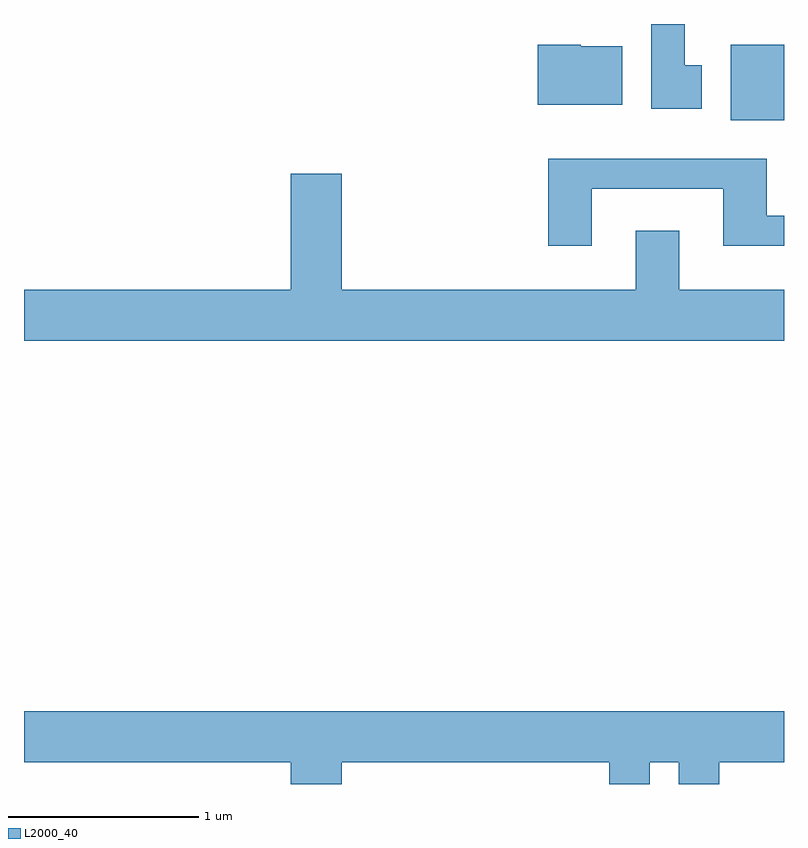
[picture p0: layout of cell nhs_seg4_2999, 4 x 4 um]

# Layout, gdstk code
import gdstk
lib = gdstk.Library(unit=1e-6, precision=1e-09)
def R(c, l, rs):  # rectangles x0, y0, x1, y1
    for r in rs: c.add(gdstk.rectangle(r[:2], r[2:], *l))
def P(c, l, *ps):  # polygons
    for p in ps: c.add(gdstk.Polygon(p, *l))
L2000_40 = (2000, 40)

nhs_seg4_2999 = lib.new_cell('nhs_seg4_2999')
R(nhs_seg4_2999, L2000_40, [(277.331,1271.476,277.611,1271.874)])
P(nhs_seg4_2999, L2000_40, [(277.179,1271.764),(277.089,1271.764),(277.089,1271.982),(276.911,1271.982),(276.911,1271.536),(277.179,1271.536)],
  [(276.759,1271.864),(276.54,1271.864),(276.54,1271.874),(276.316,1271.874),(276.316,1271.556),(276.759,1271.556)],
  [(276.599,1271.116),(277.291,1271.116),(277.291,1270.816),(277.611,1270.816),(277.611,1270.974),(277.519,1270.974),(277.519,1271.274),(276.371,1271.274),(276.371,1270.816),(276.599,1270.816)],
  [(277.611,1270.584),(277.059,1270.584),(277.059,1270.894),(276.831,1270.894),(276.831,1270.584),(275.284,1270.584),(275.284,1271.194),(275.016,1271.194),(275.016,1270.584),(273.611,1270.584),(273.611,1270.316),(277.611,1270.316)],
  [(275.284,1268.096),(276.691,1268.096),(276.691,1267.982),(276.904,1267.982),(276.904,1268.096),(277.056,1268.096),(277.056,1267.982),(277.269,1267.982),(277.269,1268.096),(277.611,1268.096),(277.611,1268.364),(273.611,1268.364),(273.611,1268.096),(275.016,1268.096),(275.016,1267.982),(275.284,1267.982)])

lib.write_gds('nhs_seg4_2999.gds')
